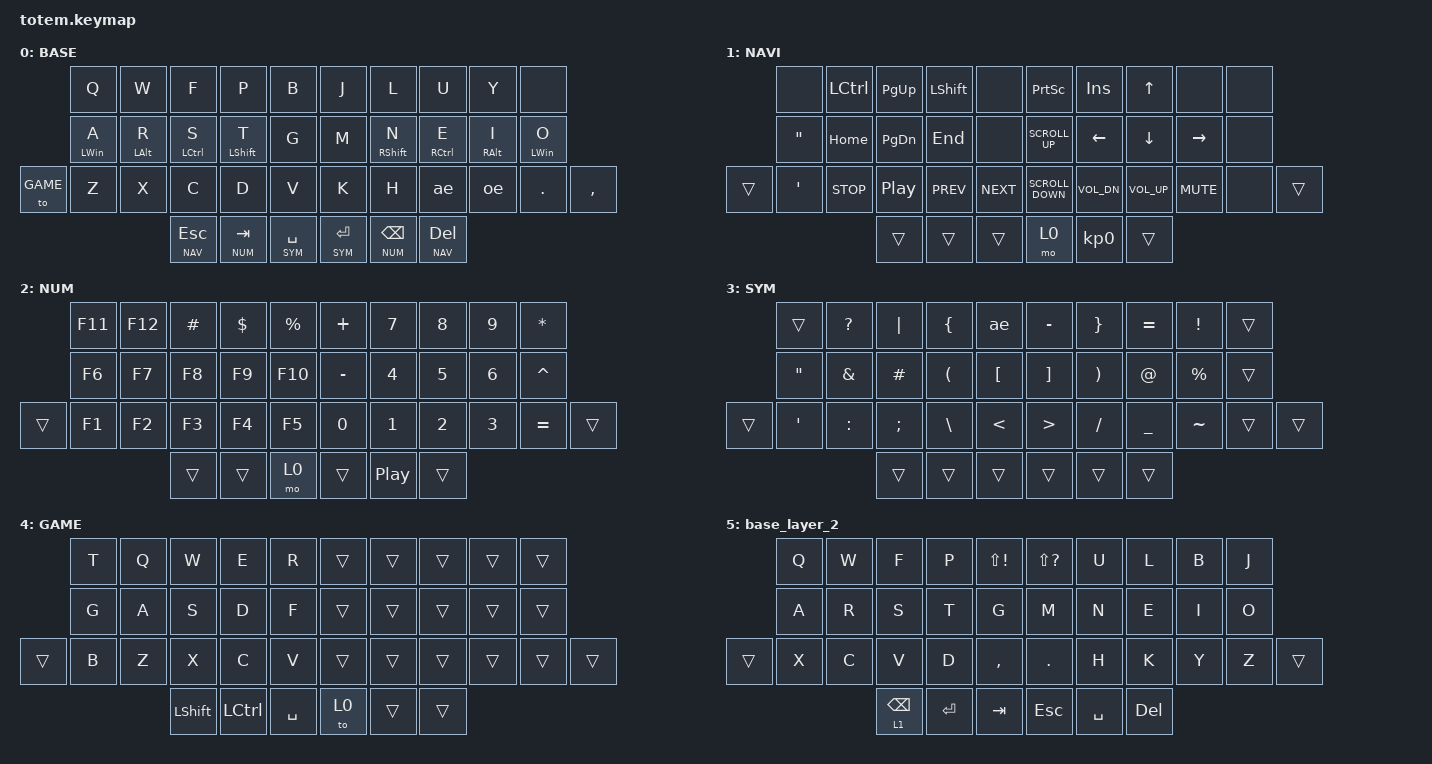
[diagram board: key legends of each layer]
//
//                                                        ▀▀▀▀▀     ▀▀▀▀▀          ▀▀█▀▀
//                                                        ▄▀▀▀▄  ▄  ▄▀▀▀▄  ▄  ▄▀▀▀▄  █  ▄▀▀▀▄
//                                                        █   █  █  █   █  █  █   █  █  █   █
//                                                         ▀▀▀   █   ▀▀▀   █   ▀▀▀   ▀   ▀▀▀
//                                                               █      ▄▄▄█▄▄▄    █   █  
//                                                               ▀      █  █  █     █▄█
//                                                             ▀▀▀▀▀    █  █  █      ▀
//                                                                      ▀  ▀  ▀
//
// ▄▄▄▄▄▄▄▄▄▄▄▄▄▄▄▄▄▄▄▄▄▄▄▄▄▄▄▄▄▄▄▄▄▄▄▄▄▄▄▄▄▄▄▄▄▄▄▄▄▄▄▄▄▄▄▄▄▄▄▄▄▄▄▄▄▄▄▄▄▄▄▄▄▄▄▄▄▄▄▄▄▄▄▄▄▄▄▄▄▄▄▄▄▄▄▄▄▄▄▄▄▄▄▄▄▄▄▄▄▄▄▄▄▄▄▄▄▄▄▄▄▄▄▄▄▄▄▄▄▄▄▄▄▄▄▄▄▄▄▄▄▄▄▄▄▄▄▄▄

#include <behaviors.dtsi>
#include <dt-bindings/zmk/keys.h>

#define BASE 0
#define NAV  1
#define NUM  2
#define SYM  3
#define GAME 4
#define TVP2 5

&mt {
    quick-tap-ms = <100>;
    global-quick-tap;
    flavor = "tap-preferred";
    tapping-term-ms = <220>;
};

/ {
    macros {
        ae: ae {
            compatible = "zmk,behavior-macro";
            #binding-cells = <0>;
            bindings = <&kp RA(Q)>;
            label = "AE";
        };

        oe: oe {
            compatible = "zmk,behavior-macro";
            #binding-cells = <0>;
            bindings = <&kp RA(P)>;
            label = "OE";
        };
    };

    combos {
        compatible = "zmk,combos";

        LeftWin {
            bindings = <&kp LEFT_WIN>;
            key-positions = <10 11>;
        };
    };

    keymap {
        compatible = "zmk,keymap";

        // ▄▄▄▄▄▄▄▄▄▄▄▄▄▄▄▄▄▄▄▄▄▄▄▄▄▄▄▄▄▄▄▄▄▄▄▄▄▄▄▄▄▄▄▄▄▄▄▄▄▄▄▄▄▄▄▄▄▄▄▄▄▄▄▄▄▄▄▄▄▄▄▄▄▄▄▄▄▄▄▄▄▄▄▄▄▄▄▄▄▄▄▄▄▄▄▄▄▄▄▄▄▄▄▄▄▄▄▄▄▄▄▄▄▄▄▄▄▄▄▄▄▄▄▄▄▄▄▄▄▄▄▄▄▄▄▄▄▄▄▄▄▄▄▄▄▄▄▄▄

        base_layer {
            // ┏━━━━━━━━━━━━━━━━━━━━━━━━━━━━━━━━━━━━━━━┓

            label = "BASE";

            // ┗━━━━━━━━━━━━━━━━━━━━━━━━━━━━━━━━━━━━━━━┛
            //             ┏━━━━━━━━━━━┳━━━━━━━━━━━┳━━━━━━━━━━━┳━━━━━━━━━━━┳━━━━━━━━━━━┓   ┏━━━━━━━━━━━┳━━━━━━━━━━━┳━━━━━━━━━━━┳━━━━━━━━━━━┳━━━━━━━━━━━┓
            //             ┃     Q     ┃     W     ┃     F     ┃     P     ┃     G     ┃   ┃     J     ┃     L     ┃     U     ┃     Y     ┃     ;     ┃
            //             ┣━━━━━━━━━━━╋━━━━━━━━━━━╋━━━━━━━━━━━╋━━━━━━━━━━━╋━━━━━━━━━━━┫   ┣━━━━━━━━━━━╋━━━━━━━━━━━╋━━━━━━━━━━━╋━━━━━━━━━━━╋━━━━━━━━━━━┫
            //             ┃     A     ┃     R     ┃     S     ┃     T     ┃     D     ┃   ┃     H     ┃     N     ┃     E     ┃     I     ┃     O     ┃
            // ┏━━━━━━━━━━━╋━━━━━━━━━━━╋━━━━━━━━━━━╋━━━━━━━━━━━╋━━━━━━━━━━━╋━━━━━━━━━━━┫   ┣━━━━━━━━━━━╋━━━━━━━━━━━╋━━━━━━━━━━━╋━━━━━━━━━━━╋━━━━━━━━━━━╋━━━━━━━━━━━┓
            // ┃     Q     ┃     Z     ┃     X     ┃     C     ┃     V     ┃     B     ┃   ┃     K     ┃     M     ┃     ,     ┃     .     ┃     /     ┃     \     ┃
            // ┗━━━━━━━━━━━┻━━━━━━━━━━━┻━━━━━━━━━━━╋━━━━━━━━━━━╋━━━━━━━━━━━╋━━━━━━━━━━━┫   ┣━━━━━━━━━━━╋━━━━━━━━━━━╋━━━━━━━━━━━╋━━━━━━━━━━━┻━━━━━━━━━━━┻━━━━━━━━━━━┛
            //                                     ┃    DEL    ┃    TAB    ┃    SPC    ┃   ┃   ENTER   ┃           ┃   BSPC    ┃
            //                                     ┗━━━━━━━━━━━┻━━━━━━━━━━━┻━━━━━━━━━━━┛   ┗━━━━━━━━━━━┻━━━━━━━━━━━┻━━━━━━━━━━━┛

            bindings = <
          &kp Q           &kp W           &kp F               &kp P             &kp B            &kp J          &kp L              &kp U                &kp Y            &none
          &mt LEFT_WIN A  &mt LEFT_ALT R  &mt LEFT_CONTROL S  &mt LEFT_SHIFT T  &kp G            &kp M          &mt RIGHT_SHIFT N  &mt RIGHT_CONTROL E  &mt RIGHT_ALT I  &mt LEFT_WIN O
&to GAME  &kp Z           &kp X           &kp C               &kp D             &kp V            &kp K          &kp H              &ae                  &oe              &kp DOT         &kp COMMA
                                          &lt NAV ESCAPE      &lt NUM TAB       &lt SYM SPACE    &lt SYM ENTER  &lt NUM BACKSPACE  &lt NAV DELETE
            >;
        };

        // ▄▄▄▄▄▄▄▄▄▄▄▄▄▄▄▄▄▄▄▄▄▄▄▄▄▄▄▄▄▄▄▄▄▄▄▄▄▄▄▄▄▄▄▄▄▄▄▄▄▄▄▄▄▄▄▄▄▄▄▄▄▄▄▄▄▄▄▄▄▄▄▄▄▄▄▄▄▄▄▄▄▄▄▄▄▄▄▄▄▄▄▄▄▄▄▄▄▄▄▄▄▄▄▄▄▄▄▄▄▄▄▄▄▄▄▄▄▄▄▄▄▄▄▄▄▄▄▄▄▄▄▄▄▄▄▄▄▄▄▄▄▄▄▄▄▄▄▄▄

        navigation_layer {
            // ┏━━━━━━━━━━━━━━━━━━━━━━━━━━━━━━━━━━━━━━━┓

            label = "NAVI";

            // ┗━━━━━━━━━━━━━━━━━━━━━━━━━━━━━━━━━━━━━━━┛
            //             ┏━━━━━━━━━━━┳━━━━━━━━━━━┳━━━━━━━━━━━┳━━━━━━━━━━━┳━━━━━━━━━━━┓   ┏━━━━━━━━━━━┳━━━━━━━━━━━┳━━━━━━━━━━━┳━━━━━━━━━━━┳━━━━━━━━━━━┓
            //             ┃           ┃           ┃     UP    ┃           ┃     {     ┃   ┃     }     ┃     7     ┃     8     ┃     9     ┃     +     ┃
            //             ┣━━━━━━━━━━━╋━━━━━━━━━━━╋━━━━━━━━━━━╋━━━━━━━━━━━╋━━━━━━━━━━━┫   ┣━━━━━━━━━━━╋━━━━━━━━━━━╋━━━━━━━━━━━╋━━━━━━━━━━━╋━━━━━━━━━━━┫
            //             ┃   SHIFT   ┃   LEFT    ┃    DOWN   ┃   RIGHT   ┃     [     ┃   ┃     ]     ┃     4     ┃     5     ┃     6     ┃     -     ┃
            // ┏━━━━━━━━━━━╋━━━━━━━━━━━╋━━━━━━━━━━━╋━━━━━━━━━━━╋━━━━━━━━━━━╋━━━━━━━━━━━┫   ┣━━━━━━━━━━━╋━━━━━━━━━━━╋━━━━━━━━━━━╋━━━━━━━━━━━╋━━━━━━━━━━━╋━━━━━━━━━━━┓
            // ┃           ┃           ┃   P UP    ┃  C LOCK   ┃  P DOWN   ┃     (     ┃   ┃     )     ┃     1     ┃     2     ┃     3     ┃     *     ┃           ┃
            // ┗━━━━━━━━━━━┻━━━━━━━━━━━┻━━━━━━━━━━━╋━━━━━━━━━━━╋━━━━━━━━━━━╋━━━━━━━━━━━┫   ┣━━━━━━━━━━━╋━━━━━━━━━━━╋━━━━━━━━━━━╋━━━━━━━━━━━┻━━━━━━━━━━━┻━━━━━━━━━━━┛
            //                                     ┃           ┃    TAB    ┃    SPC    ┃   ┃    DEL    ┃     0     ┃           ┃
            //                                     ┗━━━━━━━━━━━┻━━━━━━━━━━━┻━━━━━━━━━━━┛   ┗━━━━━━━━━━━┻━━━━━━━━━━━┻━━━━━━━━━━━┛

            bindings = <
        &none              &kp LCTRL   &kp PAGE_UP       &kp LEFT_SHIFT  &none         &kp PRINTSCREEN    &kp INSERT      &kp UP_ARROW     &none       &none
        &kp DOUBLE_QUOTES  &kp HOME    &kp PAGE_DOWN     &kp END         &none         &kp K_SCROLL_UP    &kp LEFT_ARROW  &kp DOWN_ARROW   &kp RIGHT   &none
&trans  &kp SINGLE_QUOTE   &kp C_STOP  &kp C_PLAY_PAUSE  &kp C_PREV      &kp C_NEXT    &kp K_SCROLL_DOWN  &kp C_VOL_DN    &kp C_VOLUME_UP  &kp K_MUTE  &none  &trans
                                       &trans            &trans          &trans        &mo 0              &kp KP_N0       &trans
            >;
        };

        // ▄▄▄▄▄▄▄▄▄▄▄▄▄▄▄▄▄▄▄▄▄▄▄▄▄▄▄▄▄▄▄▄▄▄▄▄▄▄▄▄▄▄▄▄▄▄▄▄▄▄▄▄▄▄▄▄▄▄▄▄▄▄▄▄▄▄▄▄▄▄▄▄▄▄▄▄▄▄▄▄▄▄▄▄▄▄▄▄▄▄▄▄▄▄▄▄▄▄▄▄▄▄▄▄▄▄▄▄▄▄▄▄▄▄▄▄▄▄▄▄▄▄▄▄▄▄▄▄▄▄▄▄▄▄▄▄▄▄▄▄▄▄▄▄▄▄▄▄▄

        Number_layer {
            // ┏━━━━━━━━━━━━━━━━━━━━━━━━━━━━━━━━━━━━━━━┓

            label = "NUM";

            // ┗━━━━━━━━━━━━━━━━━━━━━━━━━━━━━━━━━━━━━━━┛
            //             ┏━━━━━━━━━━━┳━━━━━━━━━━━┳━━━━━━━━━━━┳━━━━━━━━━━━┳━━━━━━━━━━━┓   ┏━━━━━━━━━━━┳━━━━━━━━━━━┳━━━━━━━━━━━┳━━━━━━━━━━━┳━━━━━━━━━━━┓
            //             ┃     !     ┃     @     ┃     #     ┃     $     ┃     %     ┃   ┃     ˆ     ┃     &     ┃     Ü     ┃     '     ┃     "     ┃
            //             ┣━━━━━━━━━━━╋━━━━━━━━━━━╋━━━━━━━━━━━╋━━━━━━━━━━━╋━━━━━━━━━━━┫   ┣━━━━━━━━━━━╋━━━━━━━━━━━╋━━━━━━━━━━━╋━━━━━━━━━━━╋━━━━━━━━━━━┫
            //             ┃     Ä     ┃           ┃    SZ     ┃           ┃           ┃   ┃   MUTE    ┃   YEN     ┃   EURO    ┃  POUND    ┃     Ö     ┃
            // ┏━━━━━━━━━━━╋━━━━━━━━━━━╋━━━━━━━━━━━╋━━━━━━━━━━━╋━━━━━━━━━━━╋━━━━━━━━━━━┫   ┣━━━━━━━━━━━╋━━━━━━━━━━━╋━━━━━━━━━━━╋━━━━━━━━━━━╋━━━━━━━━━━━╋━━━━━━━━━━━┓
            // ┃           ┃  EMAIL1   ┃  EMAIL2   ┃           ┃           ┃           ┃   ┃   VOL-    ┃   VOL+    ┃   LAST    ┃   NEXT    ┃     \     ┃           ┃
            // ┗━━━━━━━━━━━┻━━━━━━━━━━━┻━━━━━━━━━━━╋━━━━━━━━━━━╋━━━━━━━━━━━╋━━━━━━━━━━━┫   ┣━━━━━━━━━━━╋━━━━━━━━━━━╋━━━━━━━━━━━╋━━━━━━━━━━━┻━━━━━━━━━━━┻━━━━━━━━━━━┛
            //                                     ┃           ┃    GIF    ┃    ADJ    ┃   ┃           ┃           ┃           ┃
            //                                     ┗━━━━━━━━━━━┻━━━━━━━━━━━┻━━━━━━━━━━━┛   ┗━━━━━━━━━━━┻━━━━━━━━━━━┻━━━━━━━━━━━┛

            bindings = <
        &kp F11  &kp F12  &kp HASH  &kp DLLR  &kp PRCNT    &kp PLUS   &kp N7    &kp N8  &kp N9  &kp STAR
        &kp F6   &kp F7   &kp F8    &kp F9    &kp F10      &kp MINUS  &kp N4    &kp N5  &kp N6  &kp CARET
&trans  &kp F1   &kp F2   &kp F3    &kp F4    &kp F5       &kp N0     &kp N1    &kp N2  &kp N3  &kp EQUAL  &trans
                          &trans    &trans    &mo 0        &trans     &kp C_PP  &trans
            >;
        };

        // ▄▄▄▄▄▄▄▄▄▄▄▄▄▄▄▄▄▄▄▄▄▄▄▄▄▄▄▄▄▄▄▄▄▄▄▄▄▄▄▄▄▄▄▄▄▄▄▄▄▄▄▄▄▄▄▄▄▄▄▄▄▄▄▄▄▄▄▄▄▄▄▄▄▄▄▄▄▄▄▄▄▄▄▄▄▄▄▄▄▄▄▄▄▄▄▄▄▄▄▄▄▄▄▄▄▄▄▄▄▄▄▄▄▄▄▄▄▄▄▄▄▄▄▄▄▄▄▄▄▄▄▄▄▄▄▄▄▄▄▄▄▄▄▄▄▄▄▄▄
        // ▄▄▄▄▄▄▄▄▄▄▄▄▄▄▄▄▄▄▄▄▄▄▄▄▄▄▄▄▄▄▄▄▄▄▄▄▄▄▄▄▄▄▄▄▄▄▄▄▄▄▄▄▄▄▄▄▄▄▄▄▄▄▄▄▄▄▄▄▄▄▄▄▄▄▄▄▄▄▄▄▄▄▄▄▄▄▄▄▄▄▄▄▄▄▄▄▄▄▄▄▄▄▄▄▄▄▄▄▄▄▄▄▄▄▄▄▄▄▄▄▄▄▄▄▄▄▄▄▄▄▄▄▄▄▄▄▄▄▄▄▄▄▄▄▄▄▄▄▄
        // ▄▄▄▄▄▄▄▄▄▄▄▄▄▄▄▄▄▄▄▄▄▄▄▄▄▄▄▄▄▄▄▄▄▄▄▄▄▄▄▄▄▄▄▄▄▄▄▄▄▄▄▄▄▄▄▄▄▄▄▄▄▄▄▄▄▄▄▄▄▄▄▄▄▄▄▄▄▄▄▄▄▄▄▄▄▄▄▄▄▄▄▄▄▄▄▄▄▄▄▄▄▄▄▄▄▄▄▄▄▄▄▄▄▄▄▄▄▄▄▄▄▄▄▄▄▄▄▄▄▄▄▄▄▄▄▄▄▄▄▄▄▄▄▄▄▄▄▄▄

        symbol_layer {
            bindings = <
        &trans             &kp QUESTION   &kp PIPE       &kp LEFT_BRACE        &ae                 &kp MINUS          &kp RIGHT_BRACE        &kp EQUAL    &kp EXCLAMATION  &trans
        &kp DOUBLE_QUOTES  &kp AMPERSAND  &kp HASH       &kp LEFT_PARENTHESIS  &kp LEFT_BRACKET    &kp RIGHT_BRACKET  &kp RIGHT_PARENTHESIS  &kp AT_SIGN  &kp PERCENT      &trans
&trans  &kp APOSTROPHE     &kp COLON      &kp SEMICOLON  &kp BACKSLASH         &kp LESS_THAN       &kp GREATER_THAN   &kp SLASH              &kp UNDER    &kp TILDE        &trans  &trans
                                          &trans         &trans                &trans              &trans             &trans                 &trans
            >;

            label = "SYM";
        };

        game_layer {
            bindings = <
        &kp T  &kp Q  &kp W           &kp E      &kp R        &trans  &trans  &trans  &trans  &trans
        &kp G  &kp A  &kp S           &kp D      &kp F        &trans  &trans  &trans  &trans  &trans
&trans  &kp B  &kp Z  &kp X           &kp C      &kp V        &trans  &trans  &trans  &trans  &trans  &trans
                      &kp LEFT_SHIFT  &kp LCTRL  &kp SPACE    &to 0   &trans  &trans
            >;

            label = "GAME";
        };

        base_layer_2 {
            bindings = <
        &kp Q  &kp W  &kp F            &kp P      &kp LS(EXCL)    &kp LS(QMARK)  &kp U      &kp L    &kp B  &kp J
        &kp A  &kp R  &kp S            &kp T      &kp G           &kp M          &kp N      &kp E    &kp I  &kp O
&trans  &kp X  &kp C  &kp V            &kp D      &kp COMMA       &kp DOT        &kp H      &kp K    &kp Y  &kp Z  &trans
                      &lt 1 BACKSPACE  &kp ENTER  &kp TAB         &kp ESC        &kp SPACE  &kp DEL
            >;
        };
    };
};
